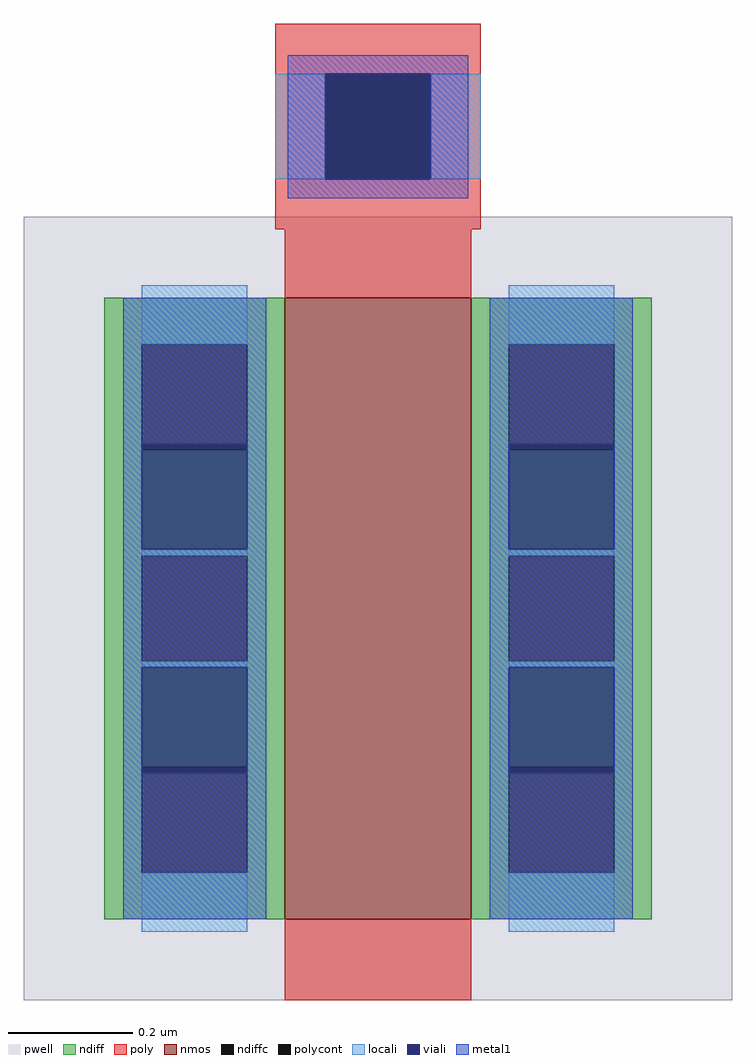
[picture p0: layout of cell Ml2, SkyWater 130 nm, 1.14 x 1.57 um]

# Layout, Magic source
magic
tech sky130B
magscale 1 2
<< pwell >>
rect -114 -197 114 55
<< nmos >>
rect -30 -171 30 29
<< ndiff >>
rect -88 14 -30 29
rect -88 -20 -76 14
rect -42 -20 -30 14
rect -88 -54 -30 -20
rect -88 -88 -76 -54
rect -42 -88 -30 -54
rect -88 -122 -30 -88
rect -88 -156 -76 -122
rect -42 -156 -30 -122
rect -88 -171 -30 -156
rect 30 14 88 29
rect 30 -20 42 14
rect 76 -20 88 14
rect 30 -54 88 -20
rect 30 -88 42 -54
rect 76 -88 88 -54
rect 30 -122 88 -88
rect 30 -156 42 -122
rect 76 -156 88 -122
rect 30 -171 88 -156
<< ndiffc >>
rect -76 -20 -42 14
rect -76 -88 -42 -54
rect -76 -156 -42 -122
rect 42 -20 76 14
rect 42 -88 76 -54
rect 42 -156 76 -122
<< poly >>
rect -33 101 33 117
rect -33 67 -17 101
rect 17 67 33 101
rect -33 51 33 67
rect -30 29 30 51
rect -30 -197 30 -171
<< polycont >>
rect -17 67 17 101
<< locali >>
rect -33 67 -17 101
rect 17 67 33 101
rect -76 14 -42 33
rect -76 -54 -42 -52
rect -76 -90 -42 -88
rect -76 -175 -42 -156
rect 42 14 76 33
rect 42 -54 76 -52
rect 42 -90 76 -88
rect 42 -175 76 -156
<< viali >>
rect -17 67 17 101
rect -76 -20 -42 -18
rect -76 -52 -42 -20
rect -76 -122 -42 -90
rect -76 -124 -42 -122
rect 42 -20 76 -18
rect 42 -52 76 -20
rect 42 -122 76 -90
rect 42 -124 76 -122
<< metal1 >>
rect -29 101 29 107
rect -29 67 -17 101
rect 17 67 29 101
rect -29 61 29 67
rect -82 -18 -36 29
rect -82 -52 -76 -18
rect -42 -52 -36 -18
rect -82 -90 -36 -52
rect -82 -124 -76 -90
rect -42 -124 -36 -90
rect -82 -171 -36 -124
rect 36 -18 82 29
rect 36 -52 42 -18
rect 76 -52 82 -18
rect 36 -90 82 -52
rect 36 -124 42 -90
rect 76 -124 82 -90
rect 36 -171 82 -124
<< end >>
